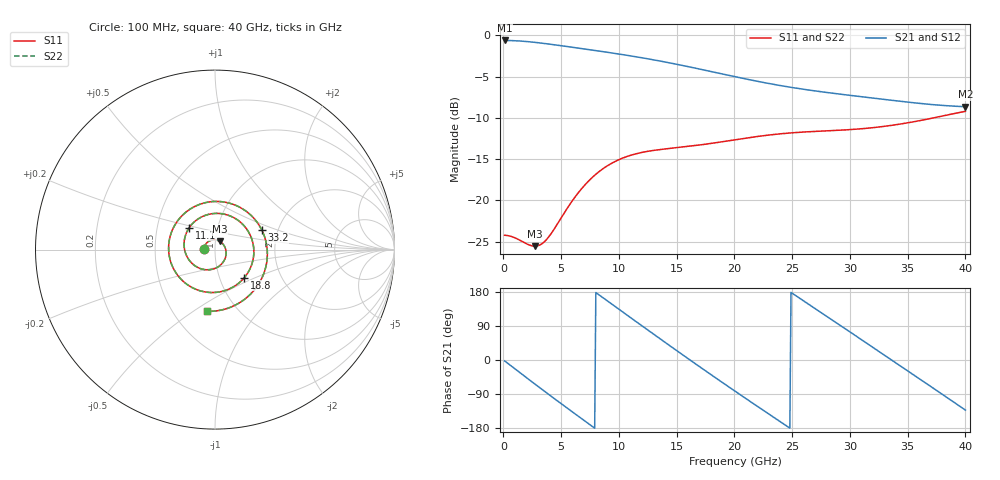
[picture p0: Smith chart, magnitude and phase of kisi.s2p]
! D_s8_stitch_2p0: L1 (ref L2) → L8 (ref L7), one GND via at 2 mm
! stackup: 8-layer 1.6 mm FR-4 (generic)
! ports: 1, 2
! kisi-fdtd, conformal, dfine 0.035 mm, 897390 cells
# Hz S RI R 50
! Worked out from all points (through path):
!   400 points, 100 MHz to 40 GHz, reference 50 ohm
!   highest |S21| = -0.61 dB at 100 MHz (marker M1); lowest = -8.6 dB at 40 GHz (marker M2)
!   group delay of S21, straight-line fit = 58.7 ps
!   lowest |S11| = -25.5 dB at 2.7 GHz (marker M3), VSWR 1.11, Z = 52.4 + j4.86 ohm
!   |S11| at or under -10 dB: start of sweep to 37.21 GHz
!   |S22| runs from -25.5 to -9.2 dB; largest |S21 - S12| = 2.2e-07
!   S11 on the Smith chart (normalised r, x): 100 MHz: 0.88, +0.01; 11.1 GHz: 0.73, +0.19; 18.8 GHz: 1.31, -0.43; 33.2 GHz: 1.64, +0.39; 40 GHz: 0.73, -0.57
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1e8  -0.0614 0.00424  0.9316 -0.0382  0.9316 -0.0382  -0.0614 0.00424
1.3e9  -0.0351 0.0462  0.7983 -0.47  0.7983 -0.47  -0.0351 0.0462
2.7e9  0.0257 0.0462  0.4126 -0.8093  0.4126 -0.8093  0.0257 0.0462
4.6e9  0.0599 -0.0376  -0.2451 -0.8392  -0.2451 -0.8392  0.0599 -0.0376
6.8e9  -0.0371 -0.1126  -0.7569 -0.3455  -0.7569 -0.3455  -0.0371 -0.1126
8.8e9  -0.1519 -0.0467  -0.7479 0.2678  -0.7479 0.2678  -0.1519 -0.0467
1.11e10  -0.143 0.123  -0.2531 0.7062  -0.2531 0.7062  -0.143 0.123
1.22e10  -0.0744 0.1822  0.0554 0.7259  0.0554 0.7259  -0.0744 0.1822
1.34e10  0.0253 0.2013  0.3572 0.6056  0.3572 0.6056  0.0253 0.2013
1.47e10  0.13 0.162  0.5772 0.3507  0.5772 0.3507  0.13 0.162
1.6e10  0.1995 0.0733  0.646 0.0373  0.646 0.0373  0.1995 0.0733
1.88e10  0.1637 -0.1561  0.3275 -0.4876  0.3275 -0.4876  0.1637 -0.1561
2.01e10  0.0741 -0.2215  0.0658 -0.5576  0.0658 -0.5576  0.0741 -0.2215
2.16e10  -0.0523 -0.2364  -0.2198 -0.4867  -0.2198 -0.4867  -0.0523 -0.2364
2.35e10  -0.1945 -0.1594  -0.4497 -0.2269  -0.4497 -0.2269  -0.1945 -0.1594
2.51e10  -0.2552 -0.033  -0.4798 0.0489  -0.4798 0.0489  -0.2552 -0.033
2.67e10  -0.2371 0.1103  -0.3638 0.2881  -0.3638 0.2881  -0.2371 0.1103
2.97e10  -0.0157 0.2675  0.0732 0.4299  0.0732 0.4299  -0.0157 0.2675
3.32e10  0.2602 0.1103  0.4035 0.0593  0.4035 0.0593  0.2602 0.1103
3.34e10  0.2682 0.093  0.4052 0.03  0.4052 0.03  0.2682 0.093
3.69e10  0.2244 -0.2182  0.1444 -0.3541  0.1444 -0.3541  0.2244 -0.2182
4e10  -0.0441 -0.3441  -0.2483 -0.2741  -0.2483 -0.2741  -0.0441 -0.3441
